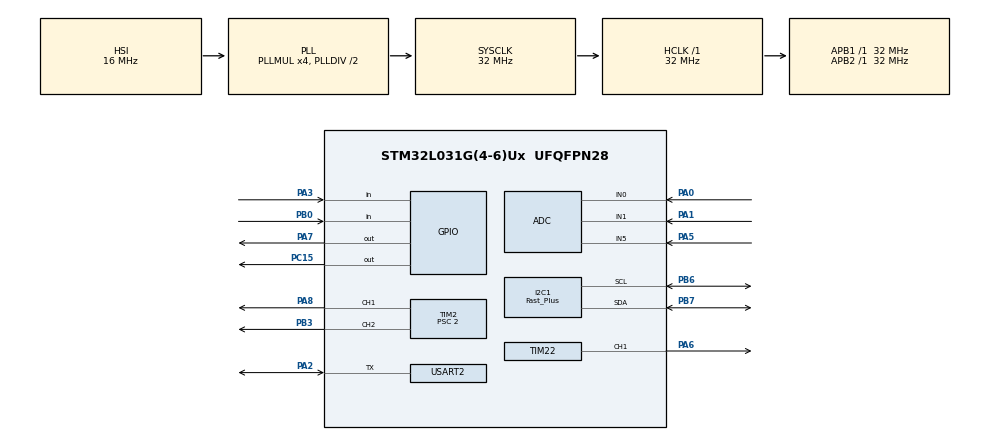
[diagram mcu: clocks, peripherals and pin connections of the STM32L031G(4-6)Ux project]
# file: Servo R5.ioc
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Mcu.Family=STM32L0
TIM2.OCFastMode_PWM-PWM\ Generation1\ CH1=TIM_OCFAST_ENABLE
I2C1.I2C_Speed_Mode=I2C_Fast_Plus
TIM2.Channel-PWM\ Generation2\ CH2=TIM_CHANNEL_2
PB3.GPIO_Speed=GPIO_SPEED_FREQ_LOW
RCC.SYSCLKSource=RCC_SYSCLKSOURCE_PLLCLK
ProjectManager.StackSize=0x400
ADC.DiscontinuousConvMode=ENABLE
TIM21.Period=65535
PA7.PinState=GPIO_PIN_SET
Dma.USART2_RX.0.Priority=DMA_PRIORITY_HIGH
Dma.USART2_RX.0.PeriphDataAlignment=DMA_PDATAALIGN_BYTE
RCC.HCLKFreq_Value=32000000
RCC.APB2TimFreq_Value=32000000
PB6.Signal=I2C1_SCL
RCC.Usart2ClockSelection=RCC_USART2CLKSOURCE_SYSCLK
PB6.Mode=I2C
TIM22.Prescaler=2
RCC.AHBFreq_Value=32000000
VP_TIM22_VS_ClockSourceINT.Mode=Internal
ADC.SamplingTime=ADC_SAMPLETIME_79CYCLES_5
RCC.HSE_VALUE=8000000
RCC.PLLMUL=RCC_PLLMUL_4
USART2.OverSampling=UART_OVERSAMPLING_16
PA0-CK_IN.Signal=ADC_IN0
PB3.GPIO_PuPd=GPIO_NOPULL
Dma.USART2_RX.0.MemDataAlignment=DMA_MDATAALIGN_BYTE
PA14.Mode=Serial_Wire
Dma.USART2_RX.0.Instance=DMA1_Channel5
PB7.Signal=I2C1_SDA
PA8.Signal=S_TIM2_CH1
TIM2.Channel-PWM\ Generation1\ CH1=TIM_CHANNEL_1
Mcu.Package=UFQFPN28
TIM2.Prescaler=2
PA6.Signal=S_TIM22_CH1
Dma.USART2_RX.0.PeriphInc=DMA_PINC_DISABLE
TIM2.Pulse-PWM\ Generation2\ CH2=0
RCC.APB1TimFreq_Value=32000000
Dma.Request0=USART2_RX
TIM22.OCFastMode_PWM-PWM\ Generation1\ CH1=TIM_OCFAST_ENABLE
PA8.GPIO_Speed=GPIO_SPEED_FREQ_LOW
PA3.Signal=GPIO_Input
PA5.Mode=IN5
RCC.MSI_VALUE=2097000
I2C1.Speed=400
SH.S_TIM2_CH1.0=TIM2_CH1,PWM Generation1 CH1
PA0-CK_IN.Mode=IN0
Dma.USART2_RX.0.Direction=DMA_PERIPH_TO_MEMORY
ADC.ClockPrescaler=ADC_CLOCK_SYNC_PCLK_DIV2
USART2.BaudRate=1000000
TIM2.Pulse-PWM\ Generation1\ CH1=0
TIM22.Period=1000
Dma.USART2_RX.0.Mode=DMA_CIRCULAR
PA13.Signal=SYS_SWDIO
RCC.HSI16_VALUE=16000000
SH.S_TIM2_CH2.0=TIM2_CH2,PWM Generation2 CH2
ProjectManager.TargetToolchain=STM32CubeIDE
I2C1.Timing=0x00100443
ADC.OversamplingMode=DISABLE
RCC.LSE_VALUE=32768
PC15-OSC32_OUT.Signal=GPIO_Output
PA1.Signal=ADC_IN1
PA5.Signal=ADC_IN5
board=custom
PB3.GPIO_ModeDefaultPP=GPIO_MODE_AF_PP
PA8.GPIO_ModeDefaultPP=GPIO_MODE_AF_PP
RCC.VCOOutputFreq_Value=64000000
RCC.APB2Freq_Value=32000000
PA1.Mode=IN1
VP_TIM21_VS_ClockSourceINT.Mode=Internal
NVIC.DMA1_Channel4_5_6_7_IRQn=true\:0\:0\:false\:false\:true\:false\:true
VP_TIM2_VS_ClockSourceINT.Mode=Internal
SH.S_TIM22_CH1.0=TIM22_CH1,PWM Generation1 CH1
TIM21.Prescaler=32000
TIM22.Channel-PWM\ Generation1\ CH1=TIM_CHANNEL_1
ADC.EOCSelection=ADC_EOC_SINGLE_CONV
TIM2.Period=4095
PA13.Mode=Serial_Wire
Mcu.Name=STM32L031G(4-6)Ux
Dma.USART2_RX.0.MemInc=DMA_MINC_ENABLE
RCC.LptimClockSelection=RCC_LPTIM1CLKSOURCE_HSI
PA2.Signal=USART2_TX
PB3.Signal=S_TIM2_CH2
RCC.SYSCLKFreq_VALUE=32000000
USART2.VirtualMode-Half_duplex(single_wire_mode)=VM_ASYNC
PB7.Mode=I2C
PA14.Signal=SYS_SWCLK
ProjectManager.HeapSize=0x200
RCC.HSI_VALUE=16000000
PA8.GPIO_PuPd=GPIO_NOPULL
PA2.Mode=Half_duplex(single_wire_mode)
TIM2.AutoReloadPreload=TIM_AUTORELOAD_PRELOAD_DISABLE
TIM2.OCFastMode_PWM-PWM\ Generation2\ CH2=TIM_OCFAST_ENABLE
TIM22.Pulse-PWM\ Generation1\ CH1=100
RCC.APB1Freq_Value=32000000
PB0.Signal=GPIO_Input
PB0.GPIO_PuPd=GPIO_PULLUP
PA7.Signal=GPIO_Output

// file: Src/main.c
/* USER CODE BEGIN Header */
/**
  ******************************************************************************
  * @file           : main.c
  * @brief          : Main program body
  ******************************************************************************
  */

// TODO:
//
//  -) DONE: implement I2C ADC to read foot pressure sensor
//
//  -) develop / tune PID controller. Think about timing for D (and I?) parts...
//     - currently, iteration time is dubious (non-consistent). Can I use another timer to generate "system time"?
//     -  or shall I call motor control at fixed iteration only? (e.g. 100Hz)
////
//  -) internal ADC to read battery voltage
//        -) why?
//
//  -) internal ADC synchronized with timer to read motor currents
//
//

/* USER CODE END Header */

#include "main.h"

/* USER CODE BEGIN Includes */
#include <mouseServo.h>

/* USER CODE END Includes */

ADC_HandleTypeDef hadc;

I2C_HandleTypeDef hi2c1;

TIM_HandleTypeDef htim2;
TIM_HandleTypeDef htim21;
TIM_HandleTypeDef htim22;

UART_HandleTypeDef huart2;
DMA_HandleTypeDef hdma_usart2_rx;

/* USER CODE BEGIN PV */

unsigned long systemTimeMS;

unsigned long SERVO_ID = 0;

long ledCounter = 1;
long ledOnFlag = 0;
long ledCounterInit = 250;								// toggle after 250ms -> period 500ms -> 2Hz
long ledBrightness = 100;								// 0 .. 1000
long UART2_BytesAvailable=0;

extern long UARTOutputEnabled;							// is UART output enabled?

#ifdef UART_SINGLE_WIRE
extern long uartRXDiscardCounter;
#endif

/* USER CODE END PV */

void SystemClock_Config(void);
static void MX_GPIO_Init(void);
static void MX_DMA_Init(void);
static void MX_ADC_Init(void);
static void MX_USART2_UART_Init(void);
static void MX_TIM2_Init(void);
static void MX_I2C1_Init(void);
static void MX_TIM21_Init(void);
static void MX_TIM22_Init(void);

/* USER CODE BEGIN 0 */

// ***********************************************************************************************************************
void sleepMS(unsigned long miliseconds) {														// rough calibration (i.e. not precise!)
	if (miliseconds) {
		for ( ; miliseconds; miliseconds--) {
#ifdef DEBUG
			for (unsigned long t=0; t<(5470); t++) { asm volatile ("nop"); }
#else
			for (unsigned long t=0; t<(5470); t++) { asm volatile ("nop"); }
#endif
		}
	}
}

// ***********************************************************************************************************************
void identifyServoID(void) {
	// use analog input to identify servo ID

	// open	-> AD = 4095		-> ID = 0;
	// 0K	-> AD = 0			-> ID = 1;
	// 1K	-> AD = 114			-> ID = 2;
	// 10K	-> AD = 910			-> ID = 3;
	// 100K	-> AD = 3033		-> ID = 4;

	long r, dummy;

	__HAL_RCC_ADC1_CLK_ENABLE();

	ADC1->SMPR &= (uint32_t)(~ADC_SMPR_SMPR);						// Clear the old sampling time
	ADC1->SMPR |= ADC_SAMPLETIME_79CYCLES_5;						// Set the new sample time (4 = 79.5 cycles)

	HAL_ADC_Start(&hadc);										// start the on-chip ADC converter		// this will read VSupply
	HAL_ADC_PollForConversion(&hadc, 10);						// timeout in ms
	r = HAL_ADC_GetValue(&hadc);

	HAL_ADC_Start(&hadc);										// start the on-chip ADC converter		// this will read ServoID
	HAL_ADC_PollForConversion(&hadc, 10);						// timeout in ms
	r = HAL_ADC_GetValue(&hadc);

	HAL_ADC_Start(&hadc);										// start the on-chip ADC converter		// this will read motorCurrent
	HAL_ADC_PollForConversion(&hadc, 10);						// timeout in ms
	dummy = HAL_ADC_GetValue(&hadc);
	dummy++;													// (use dummy, so the compilation warning goes)

	if		(r > 4000)		SERVO_ID = 0;
	else if	(r < 50)		SERVO_ID = 1;
	else if	(r < 510)		SERVO_ID = 2;
	else if	(r < 1970)		SERVO_ID = 3;
	else					SERVO_ID = 4;

}

void DUMMY_old_ServoID(void) {

	GPIO_InitTypeDef GPIO_InitStruct = {0};

	/* use PA1 to retrieve Servo ID */

	GPIO_InitStruct.Pin = GPIO_PIN_1;
	GPIO_InitStruct.Mode = GPIO_MODE_OUTPUT_PP;							// first output GND
	GPIO_InitStruct.Pull = GPIO_NOPULL;
	GPIO_InitStruct.Speed = GPIO_SPEED_FREQ_LOW;
	HAL_GPIO_Init(GPIOA, &GPIO_InitStruct);

	PORTA->CLR = GPIO_PIN_1;											// now we "push" GND

	sleepMS(2);															// wait briefly

	GPIO_InitStruct.Mode = GPIO_MODE_INPUT;								// change to input and pullup
	GPIO_InitStruct.Pull = GPIO_PULLUP;
	HAL_GPIO_Init(GPIOA, &GPIO_InitStruct);

	asm volatile ("nop");												// wait *very briefly*
	asm volatile ("nop");
	asm volatile ("nop");
	asm volatile ("nop");

	if ((PORTA->INP & GPIO_PIN_1)) {									// this pin has "followed immediately" to HIGH -> it's a floating pin -> Servo ID 0
		SERVO_ID = 0;
		GPIO_InitStruct.Pull = GPIO_NOPULL;
		HAL_GPIO_Init(GPIOA, &GPIO_InitStruct);
		return;
	}

	sleepMS(50);														// wait for internal pull-up to charge capacitor	// TODO: 20 should be enough

	if ((PORTA->INP & GPIO_PIN_1)==0) {									// this pin is a short to GND ... we are servo ID 0
		SERVO_ID = 1;
		GPIO_InitStruct.Pull = GPIO_NOPULL;
		HAL_GPIO_Init(GPIOA, &GPIO_InitStruct);
		return;
	}

																		// else no shortcut to GND -> we can "fully charge the capacitor with a high output pin

	GPIO_InitStruct.Mode = GPIO_MODE_OUTPUT_PP;							// now output HIGH
	GPIO_InitStruct.Pull = GPIO_NOPULL;
	HAL_GPIO_Init(GPIOA, &GPIO_InitStruct);

	PORTA->SET = GPIO_PIN_1;											// now we "push" HIGH

	sleepMS(2);															// wait briefly

	GPIO_InitStruct.Mode = GPIO_MODE_INPUT;								// change to input, NO pull
	GPIO_InitStruct.Pull = GPIO_NOPULL;
	HAL_GPIO_Init(GPIOA, &GPIO_InitStruct);

	long count = 0;
	while ((PORTA->INP & GPIO_PIN_1) && (count<1000)) {					// wait for port input to drop or timeout
		count++;
		sleepMS(1);														// wait 1ms
	}

//	SERVO_ID = count; return;
																		// the prototypes (2, 3, 4) show 24 (0x18), 51 (0x33), 102 (0x66); so we separate in the middle :)
	if (count < 38) { SERVO_ID = 2; }
	else {
		if (count < 77) { SERVO_ID = 3; }
		else			{ SERVO_ID = 4; }
	}

	return;
}

// ***********************************************************************************************************************
void enterBootLoader(void) {
	GPIO_InitTypeDef pinDefBL;

	__HAL_RCC_GPIOA_CLK_ENABLE();		// needed for PA2+3 (UART2 TX+RX) + motor-control
	__HAL_RCC_GPIOB_CLK_ENABLE();		// needed for motor-control
	__HAL_RCC_GPIOC_CLK_DISABLE();		// not needed

	pinDefBL.Pin = (GPIO_PIN_8);						// configure PA8 as input with pullup (to switch off motor)
	pinDefBL.Mode = GPIO_MODE_INPUT;
	pinDefBL.Pull = GPIO_PULLUP;
	pinDefBL.Speed = GPIO_SPEED_HIGH;
	HAL_GPIO_Init(GPIOA, &pinDefBL);

	pinDefBL.Pin = (GPIO_PIN_3);						// configure PB3 as input with pullup (to switch off motor)
	pinDefBL.Mode = GPIO_MODE_INPUT;
	pinDefBL.Pull = GPIO_PULLUP;
	pinDefBL.Speed = GPIO_SPEED_HIGH;
	HAL_GPIO_Init(GPIOB, &pinDefBL);

	SysTick->CTRL = 0;
	SysTick->LOAD = 0;
	SysTick->VAL = 0;
	/** * Step: Disable all interrupts */
	__disable_irq();

	/* ARM Cortex-M Programming Guide to Memory Barrier Instructions.*/
	__DSB();
	__HAL_SYSCFG_REMAPMEMORY_SYSTEMFLASH();

	/* Remap is not visible at once. Execute some unrelated command! */
	__DSB();
	__ISB();

//	JumpToApplication = (void (*)(void)) (*((uint32_t *)(0x1FFF0000 + 4)));
//
//	/* Initialize user application's Stack Pointer */
//	__set_MSP(*(__IO uint32_t*) 0x1FFF0000);
//	JumpToApplication();

    __ASM volatile ("movs r3, #0\nldr r3, [r3, #0]\nMSR msp, r3\n" : : : "r3", "sp");

    ((void (*)(void)) *((uint32_t*) 0x00000004))();

}

// ***********************************************************************************************************************
void stopAndEnterBootLoader(void) {
	HAL_DMA_DeInit(&hdma_usart2_rx);

//	HAL_IW
	HAL_ADC_DeInit(&hadc);
	HAL_UART_DeInit(&huart2);
	HAL_TIM_Base_DeInit(&htim2);
	HAL_I2C_DeInit(&hi2c1);

	HAL_RCC_DeInit();

	HAL_GPIO_DeInit(GPIOA, 0xFFFF);		// set all pins to default values
	HAL_GPIO_DeInit(GPIOB, 0xFFFF);		// set all pins to default values
	HAL_GPIO_DeInit(GPIOC, 0xFFFF);		// set all pins to default values

    HAL_DeInit();

    enterBootLoader();
}

// ***********************************************************************************************************************
inline void setLED(long onFlag, long brightness) {

	if (onFlag) {
		ledCounterInit = 1;			// const on (ok, toggling at 1ms -> 500Hz)
		ledCounter = 1;
	} else {
		ledCounter = 0;				// const off
		PORTA->CLR = PORTA_LED_K;
		TIM22->CCR1 = 0;
	}

	ledBrightness = brightness;
	if (ledBrightness > 1000) ledBrightness = 1000;
}

// ***********************************************************************************************************************
inline void setLEDBlink(long periodeMS, long brightness) {
	ledCounterInit = periodeMS;					// this is used both for on and off
	ledCounter = 1;

	ledBrightness = brightness;
	if (ledBrightness > 1000) ledBrightness = 1000;
}

/* USER CODE END 0 */

int main(void)
{
  /* USER CODE BEGIN 1 */
	// **************************************************************************************************	IWDG (independent watch-dog timer)
	if ((RCC->CSR) & BIT(29)) {		// are we waking up from a IWDG reset?
		RCC->CSR |= BIT(23);		// clear reset flags (memory of reset source) (so next time we're not ending here)

		HAL_Init();
		SystemClock_Config();

		GPIO_InitTypeDef GPIO_InitStruct = {0};

		__HAL_RCC_GPIOA_CLK_ENABLE();

		/*Configure GPIO pin Output Level */
		HAL_GPIO_WritePin(GPIOA, GPIO_PIN_7, GPIO_PIN_RESET);
		HAL_GPIO_WritePin(GPIOA, GPIO_PIN_6, GPIO_PIN_SET);

		/*Configure GPIO pin : PA6 + PA7 */
		GPIO_InitStruct.Pin = GPIO_PIN_6 | GPIO_PIN_7;
		GPIO_InitStruct.Mode = GPIO_MODE_OUTPUT_PP;
		GPIO_InitStruct.Pull = GPIO_NOPULL;
		GPIO_InitStruct.Speed = GPIO_SPEED_FREQ_LOW;
		HAL_GPIO_Init(GPIOA, &GPIO_InitStruct);

		PORTA->SET = BIT(6);
		PORTA->CLR = BIT(7);

		sleepMS(500);

		enterBootLoader();			// start boot loader, so we can update software if needed!
	}

	// be careful with code here, as the IWDG is NOT initialized yet!

  /* USER CODE END 1 */

  /* MCU Configuration--------------------------------------------------------*/

  /* Reset of all peripherals, Initializes the Flash interface and the Systick. */
  HAL_Init();

  /* USER CODE BEGIN Init */
	// be careful with code here, as the IWDG is NOT initialized yet!
  /* USER CODE END Init */

  /* Configure the system clock */
  SystemClock_Config();

  /* USER CODE BEGIN SysInit */
	// be careful with code here, as the IWDG is NOT initialized yet!
  /* USER CODE END SysInit */

  /* Initialize all configured peripherals */
  MX_GPIO_Init();
  MX_DMA_Init();
  MX_ADC_Init();
  MX_USART2_UART_Init();
  MX_TIM2_Init();
  MX_I2C1_Init();
  MX_TIM21_Init();
  MX_TIM22_Init();
  /* USER CODE BEGIN 2 */

#ifndef UART_SINGLE_WIRE
  uartSendStringDirect("\n\n\n");
#endif

  HAL_ADCEx_Calibration_Start(&hadc, ADC_SINGLE_ENDED);
  long ADCcal = HAL_ADCEx_Calibration_GetValue(&hadc, ADC_SINGLE_ENDED);
  HAL_ADCEx_Calibration_SetValue(&hadc, ADC_SINGLE_ENDED, ADCcal);

  identifyServoID();

  sensorsInit();
  motorControlInit();

  /* USER CODE END 2 */

  /* Infinite loop */
  /* USER CODE BEGIN WHILE */

#ifndef UART_SINGLE_WIRE
  uartShowVersion();
#endif

  TIM21->CNT = 0;								// set timer to zero
  systemTimeMS = 0;								// set System Time Variable to zero
  HAL_TIM_Base_Start(&htim21);

  TIM22->CNT = 0;								// set timer to zero
  HAL_TIM_Base_Start(&htim22);
  HAL_TIM_PWM_Start(&htim22, TIM_CHANNEL_1);	// start PWM output
  PORTA->CLR = PORTA_LED_K;						// set LED pin to GND		--- all LED off

  setLEDBlink(250, LED_DEFAULT_BRIGHTNESS);							// set LED blinking period 250ms -> 4Hz; brightness 100/1000

  while (1)
  {
    /* USER CODE END WHILE */

    /* USER CODE BEGIN 3 */

	  // ***********************************************************************************************************************
	  IWDG_CLEAR();																		// clear watchdog, assuming all well :)

	  // ***********************************************************************************************************************
	  if ((systemTimeMS & 0xFFFF) != (TIM21->CNT)) {									// check if (1ms) has elapsed
		  systemTimeMS++;																	// advance MS system time

	  // ***********************************************************************************************************************
		  if (ledCounter>0) {															// LED blinking
			  if ((--ledCounter) == 0) {
				  ledCounter = ledCounterInit;

				  if (ledOnFlag) {										// here the PCBWays LED is on
					  PORTA->SET = PORTA_LED_K;							// set LED pin to GND		-- PCBWAYS
					  TIM22->CCR1 = 1000-ledBrightness;
					  ledOnFlag = 0;
				  } else {												// here the hand-soldered LED is on
					  PORTA->CLR = PORTA_LED_K;							// set LED pin to GND		-- HAND SOLDERED
					  TIM22->CCR1 = ledBrightness;
					  ledOnFlag = 1;
				  }

			  }
		  }

	  // ***********************************************************************************************************************
		  motorControlIterate1KHz();															// run motor control at 1 KHz

	  }

	  // ***********************************************************************************************************************
	  UART2_BytesAvailable = (-((DMA1_Channel5->CNDTR) + uartRXReadPointer)) & (UART_BUFFER_MASK);

	  while (UART2_BytesAvailable) {
		  char newChar = uartRXBufferDMA[uartRXReadPointer++];
		  uartRXReadPointer &= UART_BUFFER_MASK;
		  UART2_BytesAvailable--;

#ifdef UART_SINGLE_WIRE
		  if (uartRXDiscardCounter) {							// is this one of the chars we sent out (ignore the echo because of one-wire transmission)
			  uartRXDiscardCounter--;
		  } else {
			  uartReceiveChar(newChar);
		  }
#else
		  uartReceiveChar(newChar);
#endif
	  }

//	  if ((USART2->ISR) & BIT(5)) {														// UART receive
//		  uartReceiveChar(USART2->RDR);
//	  }
//	  if ((USART2->ISR) & BIT(3)) {														// Overrun detected?
//		  USART2->ICR |= BIT(3);								// clear overrun flag
//		  uartSendChar('x');
//	  }

	  // ***********************************************************************************************************************
	  if (uartTXWritePointer != uartTXReadPointer) {									// UART transmit
		  if ((USART2->ISR) & BIT(7)) {
			  if (UARTOutputEnabled) {
				  USART2->TDR = uartTXBuffer[uartTXReadPointer];
#ifdef UART_SINGLE_WIRE
				  uartRXDiscardCounter++;
#endif
			  }
			  uartTXReadPointer++;
			  uartTXReadPointer &= UART_BUFFER_MASK;
		  }
	  }
	  // ***********************************************************************************************************************
	  sensorsIterate();
  }
  /* USER CODE END 3 */
}

void SystemClock_Config(void)
{
  RCC_OscInitTypeDef RCC_OscInitStruct = {0};
  RCC_ClkInitTypeDef RCC_ClkInitStruct = {0};
  RCC_PeriphCLKInitTypeDef PeriphClkInit = {0};

  /** Configure the main internal regulator output voltage
  */
  __HAL_PWR_VOLTAGESCALING_CONFIG(PWR_REGULATOR_VOLTAGE_SCALE1);
  /** Initializes the CPU, AHB and APB busses clocks
  */
  RCC_OscInitStruct.OscillatorType = RCC_OSCILLATORTYPE_HSI;
  RCC_OscInitStruct.HSIState = RCC_HSI_ON;
  RCC_OscInitStruct.HSICalibrationValue = RCC_HSICALIBRATION_DEFAULT;
  RCC_OscInitStruct.PLL.PLLState = RCC_PLL_ON;
  RCC_OscInitStruct.PLL.PLLSource = RCC_PLLSOURCE_HSI;
  RCC_OscInitStruct.PLL.PLLMUL = RCC_PLLMUL_4;
  RCC_OscInitStruct.PLL.PLLDIV = RCC_PLLDIV_2;
  if (HAL_RCC_OscConfig(&RCC_OscInitStruct) != HAL_OK)
  {
    Error_Handler();
  }
  /** Initializes the CPU, AHB and APB busses clocks
  */
  RCC_ClkInitStruct.ClockType = RCC_CLOCKTYPE_HCLK|RCC_CLOCKTYPE_SYSCLK
                              |RCC_CLOCKTYPE_PCLK1|RCC_CLOCKTYPE_PCLK2;
  RCC_ClkInitStruct.SYSCLKSource = RCC_SYSCLKSOURCE_PLLCLK;
  RCC_ClkInitStruct.AHBCLKDivider = RCC_SYSCLK_DIV1;
  RCC_ClkInitStruct.APB1CLKDivider = RCC_HCLK_DIV1;
  RCC_ClkInitStruct.APB2CLKDivider = RCC_HCLK_DIV1;

  if (HAL_RCC_ClockConfig(&RCC_ClkInitStruct, FLASH_LATENCY_1) != HAL_OK)
  {
    Error_Handler();
  }
  PeriphClkInit.PeriphClockSelection = RCC_PERIPHCLK_USART2|RCC_PERIPHCLK_I2C1;
  PeriphClkInit.Usart2ClockSelection = RCC_USART2CLKSOURCE_SYSCLK;
  PeriphClkInit.I2c1ClockSelection = RCC_I2C1CLKSOURCE_PCLK1;
  if (HAL_RCCEx_PeriphCLKConfig(&PeriphClkInit) != HAL_OK)
  {
    Error_Handler();
  }
}

static void MX_ADC_Init(void)
{

  ADC_ChannelConfTypeDef sConfig = {0};

  /** Configure the global features of the ADC (Clock, Resolution, Data Alignment and number of conversion)
  */
  hadc.Instance = ADC1;
  hadc.Init.OversamplingMode = DISABLE;
  hadc.Init.ClockPrescaler = ADC_CLOCK_SYNC_PCLK_DIV2;
  hadc.Init.Resolution = ADC_RESOLUTION_12B;
  hadc.Init.SamplingTime = ADC_SAMPLETIME_79CYCLES_5;
  hadc.Init.ScanConvMode = ADC_SCAN_DIRECTION_FORWARD;
  hadc.Init.DataAlign = ADC_DATAALIGN_RIGHT;
  hadc.Init.ContinuousConvMode = DISABLE;
  hadc.Init.DiscontinuousConvMode = ENABLE;
  hadc.Init.ExternalTrigConvEdge = ADC_EXTERNALTRIGCONVEDGE_NONE;
  hadc.Init.ExternalTrigConv = ADC_SOFTWARE_START;
  hadc.Init.DMAContinuousRequests = DISABLE;
  hadc.Init.EOCSelection = ADC_EOC_SINGLE_CONV;
  hadc.Init.Overrun = ADC_OVR_DATA_PRESERVED;
  hadc.Init.LowPowerAutoWait = DISABLE;
  hadc.Init.LowPowerFrequencyMode = DISABLE;
  hadc.Init.LowPowerAutoPowerOff = DISABLE;
  if (HAL_ADC_Init(&hadc) != HAL_OK)
  {
    Error_Handler();
  }
  /** Configure for the selected ADC regular channel to be converted.
  */
  sConfig.Channel = ADC_CHANNEL_0;
  sConfig.Rank = ADC_RANK_CHANNEL_NUMBER;
  if (HAL_ADC_ConfigChannel(&hadc, &sConfig) != HAL_OK)
  {
    Error_Handler();
  }
  /** Configure for the selected ADC regular channel to be converted.
  */
  sConfig.Channel = ADC_CHANNEL_1;
  if (HAL_ADC_ConfigChannel(&hadc, &sConfig) != HAL_OK)
  {
    Error_Handler();
  }
  /** Configure for the selected ADC regular channel to be converted.
  */
  sConfig.Channel = ADC_CHANNEL_5;
  if (HAL_ADC_ConfigChannel(&hadc, &sConfig) != HAL_OK)
  {
    Error_Handler();
  }

}

static void MX_I2C1_Init(void)
{

  hi2c1.Instance = I2C1;

  /* Timing according to Reference Manual
   * 0 -> no Prescaler
   * 0 -> reserved
   * 3 -> Data Setup 125ns
   * 0 -> Data Hold 0ns
   * 15 -> HIGH 687,5ns
   * 2D -> LOW 1437,5ns
   *
   * -> ca. 2.62us per cycle -> 380kHz I2C Clock Signal
   */
  hi2c1.Init.Timing = 0x0030152D;

  hi2c1.Init.OwnAddress1 = 0;
  hi2c1.Init.AddressingMode = I2C_ADDRESSINGMODE_7BIT;
  hi2c1.Init.DualAddressMode = I2C_DUALADDRESS_DISABLE;
  hi2c1.Init.OwnAddress2 = 0;
  hi2c1.Init.OwnAddress2Masks = I2C_OA2_NOMASK;
  hi2c1.Init.GeneralCallMode = I2C_GENERALCALL_DISABLE;
  hi2c1.Init.NoStretchMode = I2C_NOSTRETCH_DISABLE;
  if (HAL_I2C_Init(&hi2c1) != HAL_OK)
  {
    Error_Handler();
  }
  /** Configure Analogue filter
  */
  if (HAL_I2CEx_ConfigAnalogFilter(&hi2c1, I2C_ANALOGFILTER_ENABLE) != HAL_OK)
  {
    Error_Handler();
  }
  /** Configure Digital filter
  */
  if (HAL_I2CEx_ConfigDigitalFilter(&hi2c1, 0) != HAL_OK)
  {
    Error_Handler();
  }

}

static void MX_TIM2_Init(void)
{

  TIM_ClockConfigTypeDef sClockSourceConfig = {0};
  TIM_MasterConfigTypeDef sMasterConfig = {0};
  TIM_OC_InitTypeDef sConfigOC = {0};

  htim2.Instance = TIM2;
  htim2.Init.Prescaler = 2;
  htim2.Init.CounterMode = TIM_COUNTERMODE_UP;
  htim2.Init.Period = 4095;
  htim2.Init.ClockDivision = TIM_CLOCKDIVISION_DIV1;
  htim2.Init.AutoReloadPreload = TIM_AUTORELOAD_PRELOAD_DISABLE;
  if (HAL_TIM_Base_Init(&htim2) != HAL_OK)
  {
    Error_Handler();
  }
  sClockSourceConfig.ClockSource = TIM_CLOCKSOURCE_INTERNAL;
  if (HAL_TIM_ConfigClockSource(&htim2, &sClockSourceConfig) != HAL_OK)
  {
    Error_Handler();
  }
  if (HAL_TIM_PWM_Init(&htim2) != HAL_OK)
  {
    Error_Handler();
  }
  sMasterConfig.MasterOutputTrigger = TIM_TRGO_RESET;
  sMasterConfig.MasterSlaveMode = TIM_MASTERSLAVEMODE_DISABLE;
  if (HAL_TIMEx_MasterConfigSynchronization(&htim2, &sMasterConfig) != HAL_OK)
  {
    Error_Handler();
  }
  sConfigOC.OCMode = TIM_OCMODE_PWM1;
  sConfigOC.Pulse = 0;
  sConfigOC.OCPolarity = TIM_OCPOLARITY_HIGH;
  sConfigOC.OCFastMode = TIM_OCFAST_ENABLE;
  if (HAL_TIM_PWM_ConfigChannel(&htim2, &sConfigOC, TIM_CHANNEL_1) != HAL_OK)
  {
    Error_Handler();
  }
  if (HAL_TIM_PWM_ConfigChannel(&htim2, &sConfigOC, TIM_CHANNEL_2) != HAL_OK)
  {
    Error_Handler();
  }
  HAL_TIM_MspPostInit(&htim2);

}

static void MX_TIM21_Init(void)
{

  TIM_ClockConfigTypeDef sClockSourceConfig = {0};
  TIM_MasterConfigTypeDef sMasterConfig = {0};

  htim21.Instance = TIM21;
  htim21.Init.Prescaler = 32000;
  htim21.Init.CounterMode = TIM_COUNTERMODE_UP;
  htim21.Init.Period = 65535;
  htim21.Init.ClockDivision = TIM_CLOCKDIVISION_DIV1;
  htim21.Init.AutoReloadPreload = TIM_AUTORELOAD_PRELOAD_DISABLE;
  if (HAL_TIM_Base_Init(&htim21) != HAL_OK)
  {
    Error_Handler();
  }
  sClockSourceConfig.ClockSource = TIM_CLOCKSOURCE_INTERNAL;
  if (HAL_TIM_ConfigClockSource(&htim21, &sClockSourceConfig) != HAL_OK)
  {
    Error_Handler();
  }
  sMasterConfig.MasterOutputTrigger = TIM_TRGO_RESET;
  sMasterConfig.MasterSlaveMode = TIM_MASTERSLAVEMODE_DISABLE;
  if (HAL_TIMEx_MasterConfigSynchronization(&htim21, &sMasterConfig) != HAL_OK)
  {
    Error_Handler();
  }

}

static void MX_TIM22_Init(void)
{

  TIM_ClockConfigTypeDef sClockSourceConfig = {0};
  TIM_MasterConfigTypeDef sMasterConfig = {0};
  TIM_OC_InitTypeDef sConfigOC = {0};

  htim22.Instance = TIM22;
  htim22.Init.Prescaler = 2;
  htim22.Init.CounterMode = TIM_COUNTERMODE_UP;
  htim22.Init.Period = 1000;
  htim22.Init.ClockDivision = TIM_CLOCKDIVISION_DIV1;
  htim22.Init.AutoReloadPreload = TIM_AUTORELOAD_PRELOAD_DISABLE;
  if (HAL_TIM_Base_Init(&htim22) != HAL_OK)
  {
    Error_Handler();
  }
  sClockSourceConfig.ClockSource = TIM_CLOCKSOURCE_INTERNAL;
  if (HAL_TIM_ConfigClockSource(&htim22, &sClockSourceConfig) != HAL_OK)
  {
    Error_Handler();
  }
  if (HAL_TIM_PWM_Init(&htim22) != HAL_OK)
  {
    Error_Handler();
  }
  sMasterConfig.MasterOutputTrigger = TIM_TRGO_RESET;
  sMasterConfig.MasterSlaveMode = TIM_MASTERSLAVEMODE_DISABLE;
  if (HAL_TIMEx_MasterConfigSynchronization(&htim22, &sMasterConfig) != HAL_OK)
  {
    Error_Handler();
  }
  sConfigOC.OCMode = TIM_OCMODE_PWM1;
  sConfigOC.Pulse = 100;
  sConfigOC.OCPolarity = TIM_OCPOLARITY_HIGH;
  sConfigOC.OCFastMode = TIM_OCFAST_ENABLE;
  if (HAL_TIM_PWM_ConfigChannel(&htim22, &sConfigOC, TIM_CHANNEL_1) != HAL_OK)
  {
    Error_Handler();
  }
  HAL_TIM_MspPostInit(&htim22);

}

static void MX_USART2_UART_Init(void)
{

  huart2.Instance = USART2;
  huart2.Init.BaudRate = 1000000;
  huart2.Init.WordLength = UART_WORDLENGTH_8B;
  huart2.Init.StopBits = UART_STOPBITS_1;
  huart2.Init.Parity = UART_PARITY_NONE;
  huart2.Init.Mode = UART_MODE_TX_RX;
  huart2.Init.HwFlowCtl = UART_HWCONTROL_NONE;
  huart2.Init.OverSampling = UART_OVERSAMPLING_16;
  huart2.Init.OneBitSampling = UART_ONE_BIT_SAMPLE_DISABLE;
  huart2.AdvancedInit.AdvFeatureInit = UART_ADVFEATURE_NO_INIT;
  if (HAL_HalfDuplex_Init(&huart2) != HAL_OK)
  {
    Error_Handler();
  }
  /* USER CODE BEGIN USART2_Init 2 */

  // **************************************************************************************************	configure DMA input
  hdma_usart2_rx.Instance = DMA1_Channel5;
  hdma_usart2_rx.Init.Request = DMA_REQUEST_4;
  hdma_usart2_rx.Init.Direction = DMA_PERIPH_TO_MEMORY;
  hdma_usart2_rx.Init.PeriphInc = DMA_PINC_DISABLE;
  hdma_usart2_rx.Init.MemInc = DMA_MINC_ENABLE;
  hdma_usart2_rx.Init.PeriphDataAlignment = DMA_PDATAALIGN_BYTE;
  hdma_usart2_rx.Init.MemDataAlignment = DMA_MDATAALIGN_BYTE;
  hdma_usart2_rx.Init.Mode = DMA_CIRCULAR;
  hdma_usart2_rx.Init.Priority = DMA_PRIORITY_HIGH;

  HAL_DMA_Init(&hdma_usart2_rx);								// initialize DMA
  USART2->CR3 |= USART_CR3_DMAR;						// enable UART2 receive DMA
  HAL_DMA_Start(&hdma_usart2_rx, (uint32_t)(&(USART2->RDR)), (uint32_t) uartRXBufferDMA, UART_BUFFER_SIZE);		// start continuous ring buffer DMA transfer from UART3 -> U3_RX_BUFFER

  /* USER CODE END USART2_Init 2 */

}

static void MX_DMA_Init(void)
{

  /* DMA controller clock enable */
  __HAL_RCC_DMA1_CLK_ENABLE();

  /* DMA interrupt init */
  /* DMA1_Channel4_5_6_7_IRQn interrupt configuration */
  HAL_NVIC_SetPriority(DMA1_Channel4_5_6_7_IRQn, 0, 0);
  HAL_NVIC_EnableIRQ(DMA1_Channel4_5_6_7_IRQn);

}

static void MX_GPIO_Init(void)
{
  GPIO_InitTypeDef GPIO_InitStruct = {0};

  /* GPIO Ports Clock Enable */
  __HAL_RCC_GPIOC_CLK_ENABLE();
  __HAL_RCC_GPIOA_CLK_ENABLE();
  __HAL_RCC_GPIOB_CLK_ENABLE();

  /*Configure GPIO pin Output Level */
  HAL_GPIO_WritePin(GPIOC, GPIO_PIN_15, GPIO_PIN_RESET);

  /*Configure GPIO pin Output Level */
  HAL_GPIO_WritePin(GPIOA, GPIO_PIN_7, GPIO_PIN_SET);

  /*Configure GPIO pin : PC15 */
  GPIO_InitStruct.Pin = GPIO_PIN_15;
  GPIO_InitStruct.Mode = GPIO_MODE_OUTPUT_PP;
  GPIO_InitStruct.Pull = GPIO_NOPULL;
  GPIO_InitStruct.Speed = GPIO_SPEED_FREQ_LOW;
  HAL_GPIO_Init(GPIOC, &GPIO_InitStruct);

  /*Configure GPIO pin : PA3 */
  GPIO_InitStruct.Pin = GPIO_PIN_3;
  GPIO_InitStruct.Mode = GPIO_MODE_INPUT;
  GPIO_InitStruct.Pull = GPIO_NOPULL;
  HAL_GPIO_Init(GPIOA, &GPIO_InitStruct);

  /*Configure GPIO pin : PA7 */
  GPIO_InitStruct.Pin = GPIO_PIN_7;
  GPIO_InitStruct.Mode = GPIO_MODE_OUTPUT_PP;
  GPIO_InitStruct.Pull = GPIO_NOPULL;
  GPIO_InitStruct.Speed = GPIO_SPEED_FREQ_LOW;
  HAL_GPIO_Init(GPIOA, &GPIO_InitStruct);

  /*Configure GPIO pin : PB0 */
  GPIO_InitStruct.Pin = GPIO_PIN_0;
  GPIO_InitStruct.Mode = GPIO_MODE_INPUT;
  GPIO_InitStruct.Pull = GPIO_PULLUP;
  HAL_GPIO_Init(GPIOB, &GPIO_InitStruct);

}

void Error_Handler(void)
{
}

/************************ (C) COPYRIGHT STMicroelectronics *****END OF FILE****/
